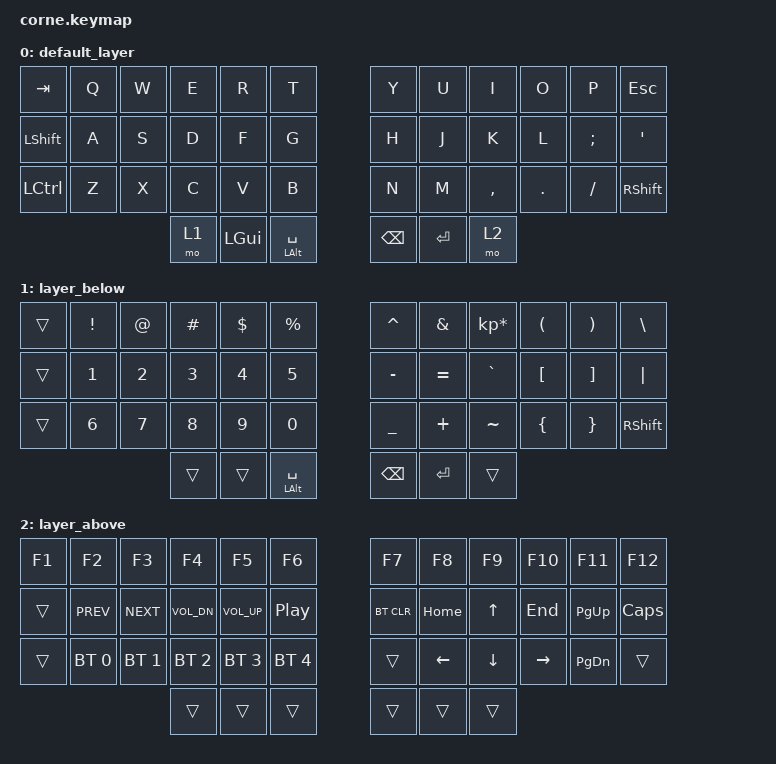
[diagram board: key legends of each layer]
#include <behaviors.dtsi>
#include <dt-bindings/zmk/bt.h>
#include <dt-bindings/zmk/keys.h>

/ {
    behaviors {
        tp: tap_preferred {
            compatible = "zmk,behavior-hold-tap";
            label = "TAP_PREFERRED";
            #binding-cells = <2>;
            tapping-term-ms = <250>;
            quick-tap-ms = <0>;
            flavor = "tap-preferred";
            bindings = <&kp>, <&kp>;
        };
    };

    keymap {
        compatible = "zmk,keymap";

        default_layer {
            // -----------------------------------------------------------------------------------------
            // | TAB  |  Q  |  W  |  E  |  R  |    T    |   |  Y  |  U   |  I  |  O  |  P  | ESC |
            // | CTRL |  A  |  S  |  D  |  F  |    G    |   |  H  |  J   |  K  |  L  |  ;  |  '   |
            // | SHFT |  Z  |  X  |  C  |  V  |    B    |   |  N  |  M   |  ,  |  .  |  /  | SHFT |
            //                    | GUI | LWR | ALT/ENT |   | HYPER/SPC | BKSP  | RSE |

            bindings = <
&kp TAB    &kp Q  &kp W  &kp E  &kp R     &kp T             &kp Y     &kp U    &kp I      &kp O    &kp P     &kp ESC
&kp LSHFT  &kp A  &kp S  &kp D  &kp F     &kp G             &kp H     &kp J    &kp K      &kp L    &kp SEMI  &kp SQT
&kp LCTRL  &kp Z  &kp X  &kp C  &kp V     &kp B             &kp N     &kp M    &kp COMMA  &kp DOT  &kp FSLH  &kp RSHFT
                         &mo 1  &kp LGUI  &tp LALT SPACE    &kp BSPC  &kp RET  &mo 2
            >;
        };

        layer_below {
            // -----------------------------------------------------------------------------------------
            // |      |  !  |  @  |  #  |  $  |    %     |   |  ^  |  &  |  *  |  (  |  )  |   \   |
            // |      |  1  |  2  |  3  |  4  |    5     |   |  -  |  =  |  `  |  [  |  ]  |  "|"  |
            // |      |  6  |  7  |  8  |  9  |    0     |   |  _  |  +  |  ~  |  {  |  }  | RSHFT |
            //                     | GUI |     | ALT/ENT |   | HYPER/SPACE | BKSP |    |

            bindings = <
&trans  &kp EXCL  &kp AT  &kp HASH  &kp DLLR  &kp PRCNT         &kp CARET  &kp AMPS   &kp KP_MULTIPLY  &kp LPAR  &kp RPAR  &kp BSLH
&trans  &kp N1    &kp N2  &kp N3    &kp N4    &kp N5            &kp MINUS  &kp EQUAL  &kp GRAVE        &kp LBKT  &kp RBKT  &kp PIPE
&trans  &kp N6    &kp N7  &kp N8    &kp N9    &kp N0            &kp UNDER  &kp PLUS   &kp TILDE        &kp LBRC  &kp RBRC  &kp RSHFT
                          &trans    &trans    &tp LALT SPACE    &kp BSPC   &kp RET    &trans
            >;
        };

        layer_above {
            // -----------------------------------------------------------------------------------------
            // |  F1  |  F2  |  F3  |  F4  |  F5  |  F6 |            |   F7  |  F8  |  F9  |  F10  |  F11  |  F12  |
            // |      | Prev | Next | Vol - | Vol + | Play/Pause |   | BTCLR | HOME |  UP  |  END  | PG_UP |  CPSL | 
            // |      | BT1 | BT2 | BT3 | BT4 | BT5 |   |            |       | LFT  |  DWN |  RGT  | PG_DN |       |
            //                    |     |     |     |                |       |      |      |

            bindings = <
&kp F1  &kp F2        &kp F3        &kp F4        &kp F5        &kp F6          &kp F7      &kp F8    &kp F9    &kp F10    &kp F11    &kp F12
&trans  &kp C_PREV    &kp C_NEXT    &kp C_VOL_DN  &kp C_VOL_UP  &kp C_PP        &bt BT_CLR  &kp HOME  &kp UP    &kp END    &kp PG_UP  &kp CAPSLOCK
&trans  &bt BT_SEL 0  &bt BT_SEL 1  &bt BT_SEL 2  &bt BT_SEL 3  &bt BT_SEL 4    &trans  &kp LEFT  &kp DOWN  &kp RIGHT  &kp PG_DN  &trans
                                    &trans        &trans        &trans          &trans      &trans    &trans
            >;
        };
    };
};

